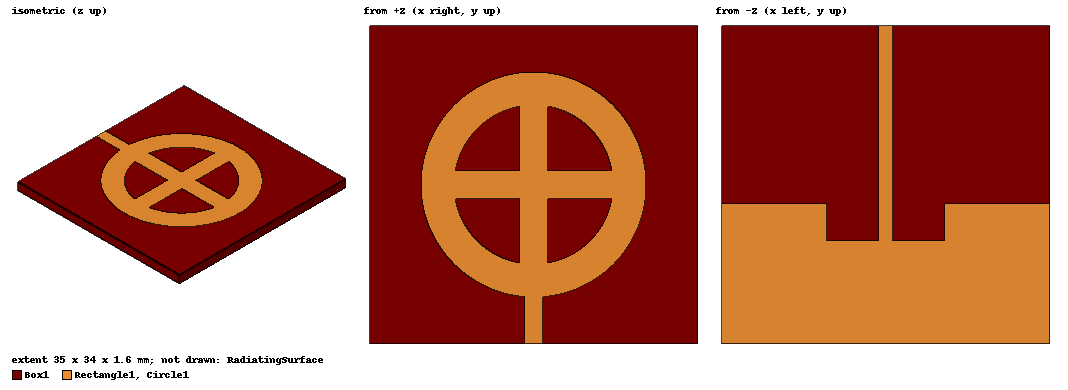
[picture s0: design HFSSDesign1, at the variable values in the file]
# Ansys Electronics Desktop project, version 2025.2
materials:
  vacuum: permittivity=1
  FR4_antenna: permittivity=4.3 dielectric_loss_tangent=0.025

design HFSSDesign1 (HFSS, HFSS Terminal Network, model units mm)
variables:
  W = 35mm
  L = 34mm
  h = 1.6mm
  Ro = 12mm
  Ri = 8.5mm
  Midl = 3mm
  GSL = 15mm
  GSW = 35mm
  GSL2 = 4mm
  GSW2 = 12.5mm
  GSLL = 46mm
  GSLW = 1.5mm
  Wf = 2mm
  Lf = 5mm
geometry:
  Box1 [FR4_antenna] = box(corner=(-W/2, 0mm, 0mm), size=(W, L, h))
  Rectangle1 = rectangle(corner=(-W/2, 0mm, 0mm), x_size=W, y_size=GSL)
  Rectangle2 = rectangle(corner=(-GSW2/2, GSL - GSL2, 0mm), x_size=GSW2, y_size=GSL2)
  Rectangle1.subtract(Rectangle2)
  Circle1 = circle(normal=Z, centre=(0mm, L/2, h), radius=Ro)
  Circle2 = circle(normal=Z, centre=(0mm, L/2, h), radius=Ri)
  Circle1.subtract(Circle2)
  Rectangle4 = rectangle(corner=(-Ro, L/2 - MidL/2, h), x_size=2*Ro, y_size=Midl)
  Rectangle5 = rectangle(corner=(-Wf/2, 0mm, h), x_size=Wf, y_size=Lf)
  Circle1.unite(Rectangle4, Rectangle5)
  Rectangle6 = rectangle(corner=(-Wf/2, 0mm, 0mm), z_size=h, x_size=Wf)
  RadiatingSurface [vacuum] = region(absolute_offset=28.571429mm on all sides)
  Rectangle7 = rectangle(corner=(-Ro, L/2 - MidL/2, h), x_size=Midl, y_size=2*Ro)
  Rectangle7.move(10.5mm, -10.5mm, 0mm)
  Circle1.unite(Rectangle7)
  Rectangle8 = rectangle(corner=(-GSLW/2, GSL - GSL2, 0mm), x_size=GSLW, y_size=(L - (GSL - GSL2)))
  Rectangle1.unite(Rectangle8)
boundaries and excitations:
  PerfE1: Perfect E Objects=Rectangle1
  PerfE2: Perfect E Objects=Circle1
  Open1: Radiation Objects=RadiatingSurface
  1: Lumped Port Objects=Rectangle6 LumpedPortType=Modal Modes{Mode1{IntLine{(0, 0, 0) -> (0, 0, 1.6)} CharImp=Zpi}} Impedance=50ohm
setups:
  Setup1: HfssDriven Frequency=5GHz MaxDeltaS=0.02 MaximumPasses=6 MinimumPasses=1 MinimumConvergedPasses=1 PercentRefinement=30 BasisOrder=1 PortAccuracy=2 DrivenSolverType="Direct Solver"
    sweep Sweep: 2GHz to 6GHz, 401 points; Type=Interpolating InterpTolerance=0.5 InterpMaxSolns=250 PassivityErrorTolerance=0.0001
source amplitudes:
  1:1: 1V 0deg
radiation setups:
  3D: Infinite Sphere Theta=0deg..180deg step 2deg Phi=-180deg..180deg step 2deg
  Elevation: Infinite Sphere Theta=-180deg..180deg step 1deg Phi=0deg..90deg step 90deg
  Azimuth: Infinite Sphere Theta=90deg..90deg step 0deg Phi=-180deg..180deg step 1deg
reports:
  S Parameter Plot1: dB(S(1,1)) vs Freq on Setup1 : Sweep
